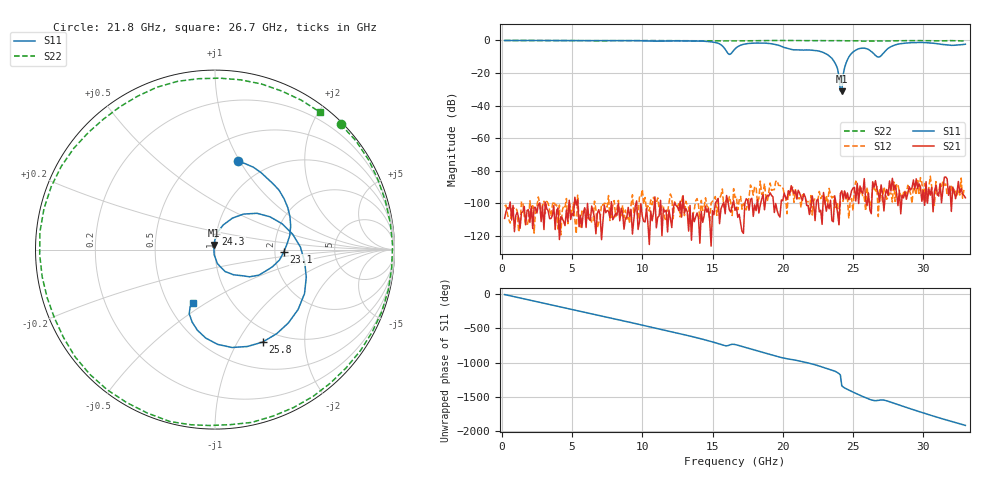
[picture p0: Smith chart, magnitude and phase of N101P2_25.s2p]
# GHZ S RI R 50
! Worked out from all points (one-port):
!   329 points, 200 MHz to 33 GHz, reference 50 ohm
!   lowest |S11| = -31.4 dB at 24.2 GHz (marker M1), VSWR 1.06, Z = 49.3 + j2.6 ohm
!   |S11| at or under -10 dB: 23.37 GHz to 24.72 GHz (1.35 GHz wide, 5.62 % of centre); 26.73 GHz to 26.91 GHz (176.8 MHz wide, 0.659 % of centre)
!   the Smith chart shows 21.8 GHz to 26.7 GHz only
!   S11 on the Smith chart (normalised r, x): 21.8 GHz: 0.74, +0.98; 23.1 GHz: 2.24, -0.07; 24.3 GHz: 1.00, +0.18; 25.8 GHz: 0.83, -1.28; 26.7 GHz: 0.67, -0.44
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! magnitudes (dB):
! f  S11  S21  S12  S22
! 200 MHz  0.0  -109.3  -101.7  0.0
! 5.7 GHz  -0.1  -115.0  -104.8  -0.1
! 11.2 GHz  -0.4  -107.8  -103.5  -0.1
! 15.2 GHz  -1.2  -100.1  -95.9  -0.2
! 16.2 GHz  -8.6  -104.2  -95.9  -0.3
! 16.6 GHz  -5.2  -104.4  -96.6  -0.3
! 18.5 GHz  -1.6  -97.5  -94.7  -0.1
! 21.8 GHz  -5.9  -101.4  -98.9  -0.1
! 22.1 GHz  -6.0  -95.5  -107.3  -0.1
! 23.1 GHz  -8.3  -104.9  -95.2  -0.1
! 23.8 GHz  -15.1  -100.8  -102.1  -0.1
! 24 GHz  -22.0  -113.1  -113.6  -0.1
! 24.1 GHz  -31.0  -94.1  -99.0  -0.1
! 24.2 GHz  -31.4  -92.4  -98.1  -0.1
! 24.3 GHz  -21.1  -97.6  -98.9  -0.1
! 24.5 GHz  -14.0  -97.3  -95.1  -0.2
! 24.8 GHz  -9.0  -96.0  -98.9  -0.2
! 25.8 GHz  -4.7  -84.9  -96.2  -0.4
! 26.7 GHz  -9.9  -91.0  -89.8  -0.3
! 27.6 GHz  -4.3  -86.4  -93.9  -0.3
! 29.2 GHz  -1.3  -90.5  -100.1  -0.1
! 33 GHz  -2.3  -96.7  -91.6  -0.3
